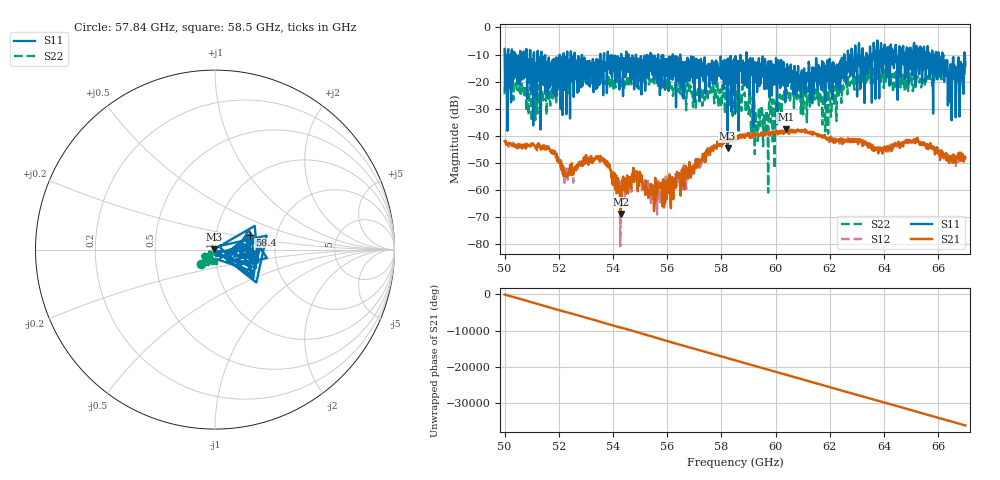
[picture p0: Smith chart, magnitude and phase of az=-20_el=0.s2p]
!Created with skrf (http://scikit-rf.org).
# GHz S RI R 50.0
!freq ReS11 ImS11 ReS21 ImS21 ReS12 ImS12 ReS22 ImS22
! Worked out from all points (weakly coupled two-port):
!   1001 points, 50 GHz to 67 GHz, reference 50 ohm
!   highest |S21| = -37.67 dB at 60.37 GHz (marker M1); lowest = -68.9 dB at 54.28 GHz (marker M2)
!   lowest |S11| = -44.7 dB at 58.23 GHz (marker M3), VSWR 1.01, Z = 49.4 + j0.113 ohm
!   |S11| at or under -10 dB: 52.59 GHz to 53.53 GHz (947.5 MHz wide, 1.79 % of centre); 56.48 GHz to 58.92 GHz (2.446 GHz wide, 4.24 % of centre); 58.93 GHz to 62.53 GHz (3.599 GHz wide, 5.93 % of centre) (the widest 3 of 65)
!   |S22| runs from -61.0 to -13.3 dB; largest |S21 - S12| = 0.0021
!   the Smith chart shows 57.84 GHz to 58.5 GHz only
!   S11 on the Smith chart (normalised r, x): 57.84 GHz: 1.55, -0.19; 58.4 GHz: 1.45, +0.25; 58.5 GHz: 1.04, -0.04
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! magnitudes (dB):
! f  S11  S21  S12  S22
! 50 GHz  -7.9  -42.0  -42.2  -24.6
! 50.15 GHz  -22.6  -43.3  -44.1  -20.7
! 51.07 GHz  -9.6  -43.2  -43.0  -26.2
! 52.26 GHz  -12.5  -55.2  -54.7  -19.6
! 52.84 GHz  -11.4  -49.5  -50.6  -19.7
! 53.67 GHz  -9.5  -49.1  -48.6  -19.9
! 54.28 GHz  -15.1  -68.9  -65.9  -21.8
! 54.79 GHz  -11.6  -54.5  -55.7  -18.8
! 55.68 GHz  -13.4  -57.4  -60.6  -21.5
! 57.84 GHz  -12.8  -43.6  -43.0  -19.1
! 58.23 GHz  -44.7  -41.8  -41.7  -23.0
! 58.4 GHz  -13.6  -40.9  -40.8  -26.1
! 58.5 GHz  -31.9  -40.2  -40.0  -23.7
! 59.64 GHz  -17.6  -39.2  -39.4  -32.8
! 60.37 GHz  -17.1  -37.7  -38.3  -25.2
! 61.34 GHz  -27.3  -39.0  -39.2  -27.3
! 61.88 GHz  -15.3  -41.2  -40.8  -24.3
! 62.61 GHz  -16.7  -41.6  -41.0  -19.6
! 64.18 GHz  -11.7  -44.3  -44.1  -17.6
! 66.08 GHz  -18.4  -46.9  -46.0  -15.9
! 66.44 GHz  -18.7  -48.3  -47.5  -16.4
! 67 GHz  -14.0  -48.1  -48.2  -14.2
